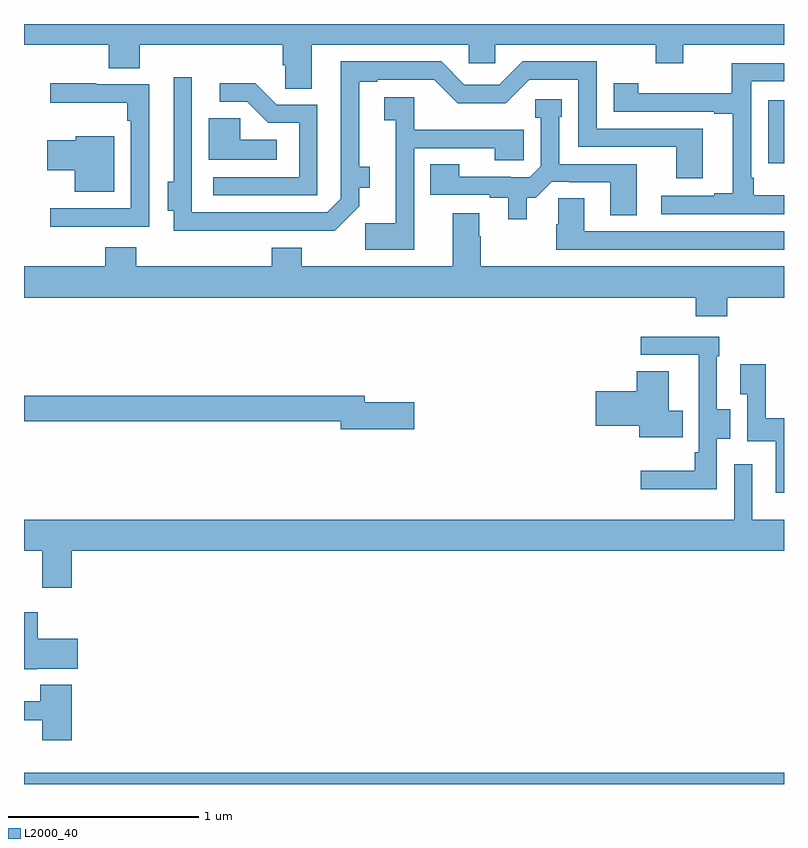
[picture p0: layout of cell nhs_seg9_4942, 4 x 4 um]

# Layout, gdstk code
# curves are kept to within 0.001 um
import gdstk
lib = gdstk.Library(unit=1e-6, precision=1e-09)
def R(c, l, rs):  # rectangles x0, y0, x1, y1
    for r in rs: c.add(gdstk.rectangle(r[:2], r[2:], *l))
def P(c, l, *ps):  # polygons
    for p in ps: c.add(gdstk.Polygon(p, *l))
L2000_40 = (2000, 40)

nhs_seg9_4942 = lib.new_cell('nhs_seg9_4942')
R(nhs_seg9_4942, L2000_40, [(397,1220.5,401,1220.56), (400.917,1223.766,401,1224.099)])
P(nhs_seg9_4942, L2000_40, [(398.515,1224.392),(399.342,1224.392),(399.342,1224.294),(399.48,1224.294),(399.48,1224.392),(400.324,1224.392),(400.324,1224.293),(400.471,1224.293),(400.471,1224.392),(401,1224.392),(401,1224.5),(397,1224.5),(397,1224.392),(397.445,1224.392),(397.445,1224.268),(397.61,1224.268),(397.61,1224.392),(398.363,1224.392),(398.363,1224.283),(398.376,1224.283),(398.376,1224.16),(398.515,1224.16)],
  [(398.219,1223.412),(398.635,1223.411),(398.765,1223.54),(398.765,1223.639),(398.821,1223.639),(398.821,1223.749),(398.764,1223.749),(398.764,1224.195),(398.86,1224.195),(398.86,1224.207),(399.158,1224.207),(399.282,1224.083),(399.536,1224.083),(399.66,1224.207),(399.918,1224.207),(399.918,1223.853),(400.433,1223.853),(400.433,1223.688),(400.573,1223.688),(400.573,1223.949),(400.014,1223.949),(400.014,1224.303),(399.624,1224.303),(399.501,1224.18),(399.318,1224.18),(399.195,1224.303),(398.667,1224.303),(398.667,1223.58),(398.595,1223.508),(397.884,1223.508),(397.884,1224.22),(397.788,1224.22),(397.788,1223.669),(397.757,1223.669),(397.757,1223.516),(397.788,1223.516),(397.788,1223.411)],
  [(401,1223.599),(400.84,1223.599),(400.84,1223.692),(400.827,1223.692),(400.827,1224.198),(401,1224.198),(401,1224.294),(400.726,1224.294),(400.726,1224.136),(400.232,1224.136),(400.232,1224.187),(400.104,1224.187),(400.104,1224.039),(400.634,1224.039),(400.634,1224.027),(400.73,1224.027),(400.73,1223.608),(400.634,1223.608),(400.634,1223.595),(400.353,1223.595),(400.353,1223.499),(401,1223.499)],
  [(398.544,1224.075),(398.331,1224.075),(398.218,1224.188),(398.031,1224.188),(398.031,1224.09),(398.175,1224.09),(398.286,1223.979),(398.448,1223.979),(398.448,1223.694),(397.995,1223.694),(397.995,1223.598),(398.544,1223.598)],
  [(397.659,1224.183),(397.381,1224.183),(397.381,1224.187),(397.137,1224.187),(397.137,1224.086),(397.543,1224.086),(397.543,1223.99),(397.563,1223.99),(397.563,1223.529),(397.137,1223.529),(397.137,1223.433),(397.659,1223.433)],
  [(399.054,1223.847),(399.478,1223.847),(399.478,1223.782),(399.631,1223.782),(399.631,1223.943),(399.521,1223.943),(399.521,1223.944),(399.054,1223.944),(399.054,1224.115),(398.895,1224.115),(398.895,1223.994),(398.957,1223.994),(398.957,1223.451),(398.796,1223.451),(398.796,1223.312),(399.054,1223.312)],
  [(399.646,1223.586),(399.693,1223.586),(399.777,1223.67),(399.871,1223.67),(399.871,1223.667),(400.085,1223.667),(400.085,1223.494),(400.225,1223.494),(400.225,1223.763),(399.816,1223.763),(399.816,1224.012),(399.829,1224.012),(399.829,1224.105),(399.69,1224.105),(399.69,1224.007),(399.72,1224.007),(399.72,1223.751),(399.663,1223.694),(399.563,1223.694),(399.563,1223.697),(399.291,1223.697),(399.291,1223.762),(399.139,1223.762),(399.139,1223.601),(399.452,1223.601),(399.452,1223.586),(399.548,1223.586),(399.548,1223.472),(399.646,1223.472)],
  [(398.329,1223.89),(398.137,1223.89),(398.137,1224.005),(397.973,1224.005),(397.973,1223.786),(398.329,1223.786)],
  [(397.474,1223.908),(397.272,1223.908),(397.272,1223.887),(397.122,1223.887),(397.122,1223.729),(397.268,1223.729),(397.268,1223.618),(397.474,1223.618)],
  [(401,1223.409),(399.949,1223.409),(399.949,1223.582),(399.811,1223.582),(399.811,1223.445),(399.802,1223.445),(399.802,1223.313),(401,1223.313)],
  [(400.7,1223.06),(401,1223.06),(401,1223.224),(399.405,1223.224),(399.405,1223.384),(399.397,1223.384),(399.397,1223.503),(399.257,1223.503),(399.257,1223.224),(398.463,1223.224),(398.463,1223.323),(398.303,1223.323),(398.303,1223.224),(397.592,1223.224),(397.592,1223.326),(397.427,1223.326),(397.427,1223.224),(397,1223.224),(397,1223.06),(400.535,1223.06),(400.535,1222.961),(400.7,1222.961)],
  [(400.647,1222.318),(400.717,1222.318),(400.717,1222.473),(400.647,1222.473),(400.647,1222.751),(400.66,1222.751),(400.66,1222.854),(400.245,1222.854),(400.245,1222.758),(400.55,1222.758),(400.55,1222.561),(400.551,1222.561),(400.551,1222.246),(400.531,1222.246),(400.531,1222.15),(400.245,1222.15),(400.245,1222.052),(400.647,1222.052)],
  [(401,1222.426),(400.905,1222.426),(400.905,1222.708),(400.769,1222.708),(400.769,1222.552),(400.806,1222.552),(400.806,1222.304),(400.956,1222.304),(400.956,1222.034),(401,1222.034)],
  [(400.466,1222.465),(400.393,1222.465),(400.393,1222.673),(400.226,1222.673),(400.226,1222.568),(400.008,1222.568),(400.008,1222.385),(400.238,1222.385),(400.238,1222.325),(400.466,1222.325)],
  [(399.055,1222.508),(398.794,1222.508),(398.794,1222.544),(397,1222.544),(397,1222.408),(398.666,1222.408),(398.666,1222.366),(399.055,1222.366)],
  [(397.25,1221.728),(401,1221.728),(401,1221.892),(400.833,1221.892),(400.833,1222.183),(400.737,1222.183),(400.737,1221.892),(397,1221.892),(397,1221.728),(397.097,1221.728),(397.097,1221.534),(397.25,1221.534)],
  [(397.068,1221.107),(397.282,1221.107),(397.282,1221.265),(397.072,1221.265),(397.072,1221.403),(397,1221.403),(397,1221.104),(397.068,1221.104)],
  [(397.25,1221.022),(397.085,1221.022),(397.085,1220.935),(397,1220.935),(397,1220.835),(397.097,1220.835),(397.097,1220.73),(397.25,1220.73)])

lib.write_gds('nhs_seg9_4942.gds')
